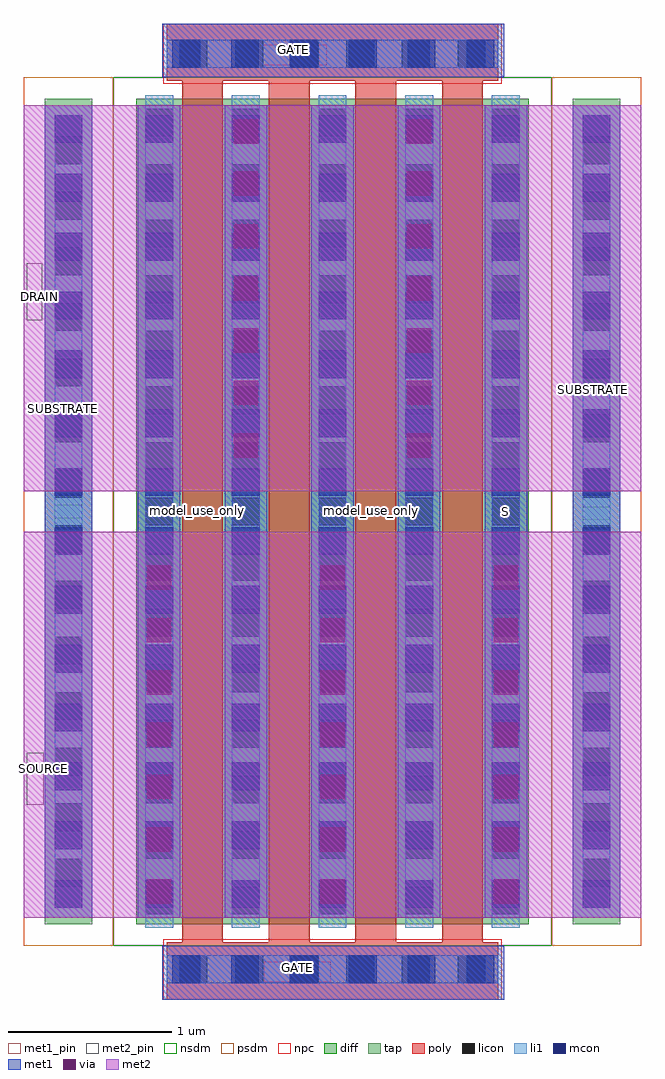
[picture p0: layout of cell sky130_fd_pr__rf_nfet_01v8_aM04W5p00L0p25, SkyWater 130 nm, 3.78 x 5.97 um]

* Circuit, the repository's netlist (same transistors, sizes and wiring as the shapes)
* Copyright 2020 The SkyWater PDK Authors
*
* Licensed under the Apache License, Version 2.0 (the "License");
* you may not use this file except in compliance with the License.
* You may obtain a copy of the License at
*
*     https://www.apache.org/licenses/LICENSE-2.0
*
* Unless required by applicable law or agreed to in writing, software
* distributed under the License is distributed on an "AS IS" BASIS,
* WITHOUT WARRANTIES OR CONDITIONS OF ANY KIND, either express or implied.
* See the License for the specific language governing permissions and
* limitations under the License.
*
* SPDX-License-Identifier: Apache-2.0


.subckt sky130_fd_pr__rf_nfet_01v8_aM04W5p00L0p25 DRAIN GATE SOURCE SUBSTRATE
X0 DRAIN GATE SOURCE SUBSTRATE sky130_fd_pr__nfet_01v8 w=5.05e+06u l=250000u
X1 DRAIN GATE SOURCE SUBSTRATE sky130_fd_pr__nfet_01v8 w=5.05e+06u l=250000u
X2 SOURCE GATE DRAIN SUBSTRATE sky130_fd_pr__nfet_01v8 w=5.05e+06u l=250000u
X3 SOURCE GATE DRAIN SUBSTRATE sky130_fd_pr__nfet_01v8 w=5.05e+06u l=250000u
.ends

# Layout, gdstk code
import gdstk
lib = gdstk.Library(unit=1e-6, precision=1e-09)
def R(c, l, rs):  # rectangles x0, y0, x1, y1
    for r in rs: c.add(gdstk.rectangle(r[:2], r[2:], *l))
def A(c, l, x, y, w, h, nx, ny, dx, dy):  # array of equal rectangles
    R(c, l, [(x+i*dx, y+j*dy, x+i*dx+w, y+j*dy+h) for i in range(nx) for j in range(ny)])
diff = (65, 20)
tap = (65, 44)
poly = (66, 20)
licon = (66, 44)
li1 = (67, 20)
mcon = (67, 44)
met1_pin = (68, 16)
met1 = (68, 20)
via = (68, 44)
met2_pin = (69, 16)
met2 = (69, 20)
nsdm = (93, 44)
psdm = (94, 20)
npc = (95, 20)

sky130_fd_pr__rf_nfet_01 = lib.new_cell('sky130_fd_pr__rf_nfet_01v8_aM04W5p00L0p25')
R(sky130_fd_pr__rf_nfet_01, diff, [(0.69,0.46,3.09,5.51)])
R(sky130_fd_pr__rf_nfet_01, tap, [(0.13,0.46,0.42,5.51), (3.36,0.46,3.65,5.51)])
A(sky130_fd_pr__rf_nfet_01, poly, 0.97, 0.35, 0.25, 5.27, 4, 1, 0.53, 0)
R(sky130_fd_pr__rf_nfet_01, poly, [(0.875,0,2.905,0.35), (0.875,5.62,2.905,5.97)])
A(sky130_fd_pr__rf_nfet_01, licon, 0.955, 0.1, 0.17, 0.17, 6, 2, 0.34, 5.6)
A(sky130_fd_pr__rf_nfet_01, licon, 0.745, 0.52, 0.17, 0.17, 5, 15, 0.53, 0.34)
A(sky130_fd_pr__rf_nfet_01, licon, 0.19, 0.69, 0.17, 0.17, 1, 14, 0, 0.34)
A(sky130_fd_pr__rf_nfet_01, licon, 3.42, 0.69, 0.17, 0.17, 1, 14, 0, 0.34)
A(sky130_fd_pr__rf_nfet_01, li1, 0.745, 0.44, 0.17, 5.09, 5, 1, 0.53, 0)
A(sky130_fd_pr__rf_nfet_01, li1, 0.745, 1.64, 0.17, 2.69, 5, 1, 0.53, 0)
R(sky130_fd_pr__rf_nfet_01, li1, [(0.875,0.1,2.905,0.27), (0.91,0.1,2.88,0.27), (0.19,0.56,0.36,5.41), (3.42,0.56,3.59,5.41), (0.19,0.61,0.36,5.36), (3.42,0.61,3.59,5.36), (0.19,1.63,0.36,4.34), (3.42,1.63,3.59,4.34), (0.875,5.7,2.905,5.87), (0.91,5.7,2.88,5.87)])
A(sky130_fd_pr__rf_nfet_01, mcon, 0.91, 0.1, 0.17, 0.17, 6, 2, 0.36, 5.6)
A(sky130_fd_pr__rf_nfet_01, mcon, 0.19, 0.56, 0.17, 0.17, 1, 14, 0, 0.36)
A(sky130_fd_pr__rf_nfet_01, mcon, 0.745, 0.56, 0.17, 0.17, 5, 14, 0.53, 0.36)
A(sky130_fd_pr__rf_nfet_01, mcon, 3.42, 0.56, 0.17, 0.17, 1, 14, 0, 0.36)
R(sky130_fd_pr__rf_nfet_01, met1_pin, [(1.47,0.105,1.88,0.23), (3.42,2.935,3.59,3.015), (0.19,2.945,0.36,3.025), (1.445,5.715,1.855,5.84)])
A(sky130_fd_pr__rf_nfet_01, met1, 0.7, 0.5, 0.26, 2.24, 3, 1, 1.06, 0)
A(sky130_fd_pr__rf_nfet_01, met1, 0.7, 0.5, 0.26, 4.97, 5, 1, 0.53, 0)
R(sky130_fd_pr__rf_nfet_01, met1, [(0.85,0,2.94,0.33), (0.13,0.5,0.42,5.47), (3.36,0.5,3.65,5.47), (1.23,3.23,1.49,5.47), (2.29,3.23,2.55,5.47), (0.85,5.64,2.94,5.97)])
A(sky130_fd_pr__rf_nfet_01, via, 0.755, 0.585, 0.15, 0.15, 3, 7, 1.06, 0.32)
A(sky130_fd_pr__rf_nfet_01, via, 1.285, 3.315, 0.15, 0.15, 1, 7, 0, 0.32)
A(sky130_fd_pr__rf_nfet_01, via, 2.345, 3.315, 0.15, 0.15, 1, 7, 0, 0.32)
R(sky130_fd_pr__rf_nfet_01, met2_pin, [(0.02,1.19,0.125,1.51), (0.02,4.155,0.115,4.505)])
A(sky130_fd_pr__rf_nfet_01, met2, 0.7, 0.5, 0.26, 2.24, 3, 1, 1.06, 0)
R(sky130_fd_pr__rf_nfet_01, met2, [(0,0.5,3.78,2.86), (0,3.11,3.78,5.47), (1.23,3.23,1.49,5.47), (2.29,3.23,2.55,5.47)])
R(sky130_fd_pr__rf_nfet_01, nsdm, [(0.55,0.33,3.23,5.64)])
R(sky130_fd_pr__rf_nfet_01, psdm, [(0,0.33,0.55,5.64), (3.23,0.33,3.78,5.64)])
R(sky130_fd_pr__rf_nfet_01, npc, [(0.855,0,2.925,0.37), (0.855,5.6,2.925,5.97)])
sky130_fd_pr__rf_nfet_01.add(gdstk.Label('model_use_only', (1.065,2.99), layer=66, texttype=83))
sky130_fd_pr__rf_nfet_01.add(gdstk.Label('model_use_only', (1.59,2.99), layer=66, texttype=83))
sky130_fd_pr__rf_nfet_01.add(gdstk.Label('model_use_only', (2.13,2.99), layer=66, texttype=83))
sky130_fd_pr__rf_nfet_01.add(gdstk.Label('model_use_only', (2.65,2.99), layer=66, texttype=83))
sky130_fd_pr__rf_nfet_01.add(gdstk.Label('S', (0.83,2.985), layer=83, texttype=44))
sky130_fd_pr__rf_nfet_01.add(gdstk.Label('S', (0.83,2.985), layer=83, texttype=44))
sky130_fd_pr__rf_nfet_01.add(gdstk.Label('S', (1.36,2.985), layer=83, texttype=44))
sky130_fd_pr__rf_nfet_01.add(gdstk.Label('D', (1.36,2.985), layer=83, texttype=44))
sky130_fd_pr__rf_nfet_01.add(gdstk.Label('S', (1.89,2.985), layer=83, texttype=44))
sky130_fd_pr__rf_nfet_01.add(gdstk.Label('S', (1.89,2.985), layer=83, texttype=44))
sky130_fd_pr__rf_nfet_01.add(gdstk.Label('S', (2.42,2.985), layer=83, texttype=44))
sky130_fd_pr__rf_nfet_01.add(gdstk.Label('D', (2.42,2.985), layer=83, texttype=44))
sky130_fd_pr__rf_nfet_01.add(gdstk.Label('S', (2.95,2.985), layer=83, texttype=44))
sky130_fd_pr__rf_nfet_01.add(gdstk.Label('DRAIN', (0.1,4.3), layer=69, texttype=5))
sky130_fd_pr__rf_nfet_01.add(gdstk.Label('SOURCE', (0.125,1.41), layer=69, texttype=5))
sky130_fd_pr__rf_nfet_01.add(gdstk.Label('SUBSTRATE', (0.245,3.615), layer=68, texttype=5))
sky130_fd_pr__rf_nfet_01.add(gdstk.Label('GATE', (1.65,5.81), layer=68, texttype=5))
sky130_fd_pr__rf_nfet_01.add(gdstk.Label('GATE', (1.675,0.195), layer=68, texttype=5))
sky130_fd_pr__rf_nfet_01.add(gdstk.Label('SUBSTRATE', (3.485,3.73), layer=68, texttype=5))

lib.write_gds('sky130_fd_pr__rf_nfet_01v8_aM04W5p00L0p25.gds')
